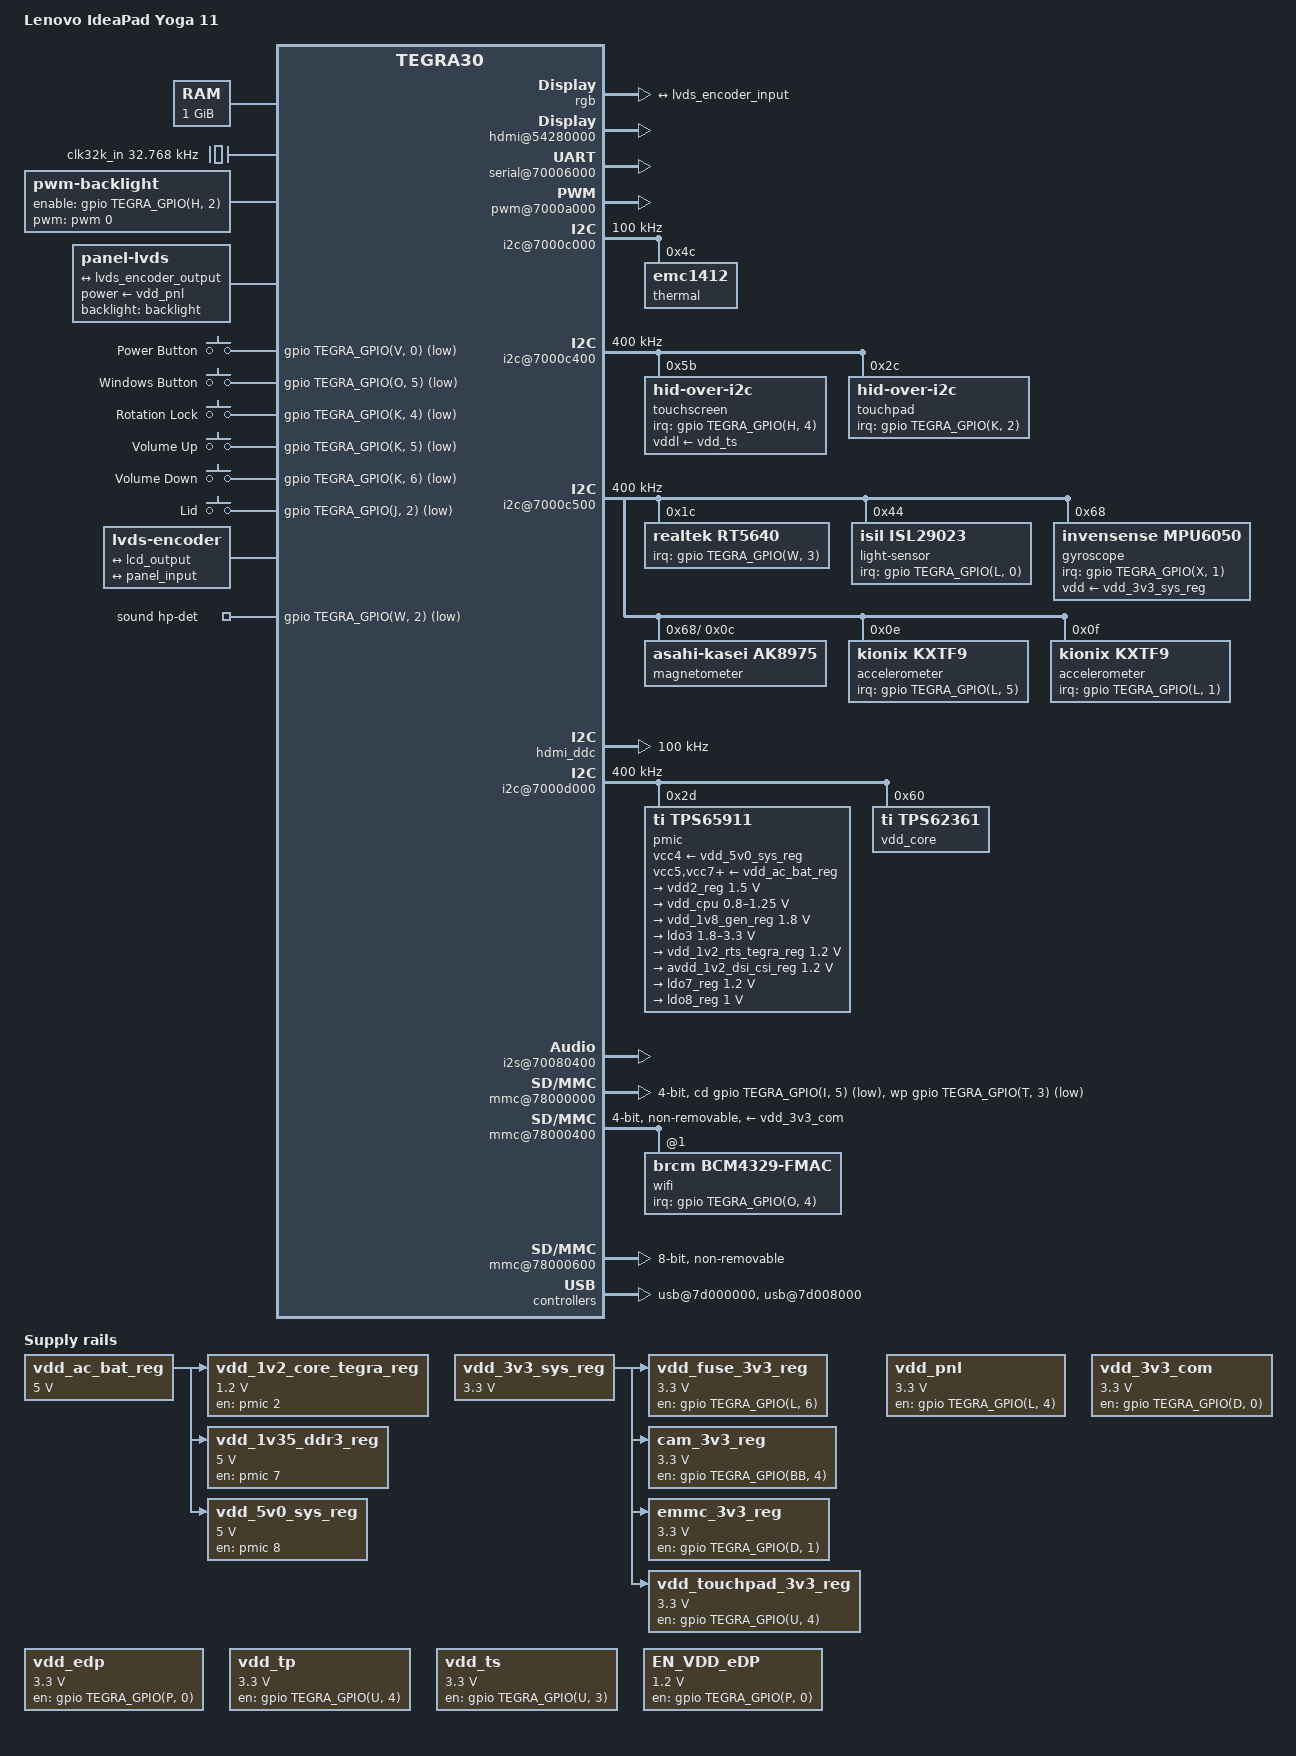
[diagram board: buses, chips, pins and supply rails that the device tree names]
// SPDX-License-Identifier: GPL-2.0

/dts-v1/;

#include <dt-bindings/input/input.h>
#include "tegra30.dtsi"

/ {
	model = "Lenovo IdeaPad Yoga 11";
	compatible = "lenovo,ideapad-yoga-11", "nvidia,tegra30";

	aliases {
		mmc0 = &sdmmc4; /* eMMC */
		mmc1 = &sdmmc1; /* uSD slot */
		mmc2 = &sdmmc3; /* WiFi */

		rtc0 = &pmic;
		rtc1 = "/rtc@7000e000";

		serial0 = &uarta; /* console */
	};

	chosen {
		stdout-path = "serial0:115200n8";
	};

	/* 2GB DDR3 Memory */
	memory@80000000 {
		reg = <0x80000000 0x40000000>; // 1 GiB is wrong size but 2GB doesn't work atm
	};

	/* clock from PMIC */
	clk32k_in: clock-32 {
		compatible = "fixed-clock";
		clock-frequency = <32768>;
		#clock-cells = <0>;
	};

	host1x@50000000 {
		dc@54200000 {
			rgb {
				status = "okay";

				port@0 {
					lcd_output: endpoint {
						remote-endpoint = <&lvds_encoder_input>;
						bus-width = <24>;
					};
				};
			};
		};

		hdmi@54280000 {
			status = "okay";
			nvidia,ddc-i2c-bus = <&hdmi_ddc>;
			nvidia,hpd-gpio = <&gpio TEGRA_GPIO(N, 7) GPIO_ACTIVE_HIGH>;
		};
	};

	pinmux@70000868 {
		pinctrl-names = "default";
		pinctrl-0 = <&state_default>;

		state_default: pinmux {
			/* HDMI HOTPLUG_DETECT */
			/*hdmi-int-pn7 {
				nvidia,pins = "hdmi_int_pn7";
				nvidia,function = "hdmi";
				nvidia,pull = <TEGRA_PIN_PULL_NONE>;
				nvidia,tristate = <TEGRA_PIN_ENABLE>;
				nvidia,enable-input = <TEGRA_PIN_ENABLE>;
			};*/

			/* Backlight PWM */
			gmi-ad8-ph0 {
				nvidia,pins = "gmi_ad8_ph0";
				nvidia,function = "pwm0";
				nvidia,pull = <TEGRA_PIN_PULL_NONE>;
				nvidia,tristate = <TEGRA_PIN_DISABLE>;
				nvidia,enable-input = <TEGRA_PIN_DISABLE>;
			};
		};
	};

	serial@70006000 {
		status = "okay";
	};

	pwm@7000a000 {
		status = "okay";
	};

	i2c@7000c000 {
		status = "okay";
		clock-frequency = <100000>;

		/*
		battery@16 {
			compatible = "battery";
			reg = <0x16>;
		};
		*/

		thermal@4c {
			compatible = "emc1412";
			reg = <0x4c>;
			// Interrupt CC2
		};
	};

	i2c@7000c400 {
		status = "okay";
		clock-frequency = <400000>;

		/* Atmel Maxtouch HID over I2C */
		touchscreen@5b {
			compatible = "hid-over-i2c";
			reg = <0x5b>;
			hid-descr-addr = <0x0000>;
			interrupt-parent = <&gpio>;
			interrupts = <TEGRA_GPIO(H, 4) IRQ_TYPE_LEVEL_LOW>;

			vddl-supply = <&vdd_ts>;
			// reset H6
		};

		/* Touchpad HID over I2C */
		touchpad@2c {
			compatible = "hid-over-i2c";
			reg = <0x2c>;
			hid-descr-addr = <0x0020>;
			interrupt-parent = <&gpio>;
			interrupts = <TEGRA_GPIO(K, 2) IRQ_TYPE_LEVEL_LOW>;
		};
	};

	i2c@7000c500 {
		status = "okay";
		clock-frequency = <400000>;

		rt5640: audio-codec@1c {
			compatible = "realtek,rt5640";
			reg = <0x1c>;
			interrupt-parent = <&gpio>;
			interrupts = <TEGRA_GPIO(W, 3) IRQ_TYPE_LEVEL_HIGH>;
		};

		light-sensor@44 {
			compatible = "isil,isl29023";
			reg = <0x44>;

			interrupt-parent = <&gpio>;
			interrupts = <TEGRA_GPIO(L, 0) IRQ_TYPE_LEVEL_HIGH>;
		};

		gyroscope@68 {
			compatible = "invensense,mpu6050";
			reg = <0x68>;

			interrupt-parent = <&gpio>;
			interrupts = <TEGRA_GPIO(X, 1) IRQ_TYPE_EDGE_RISING>;

			vdd-supply    = <&vdd_3v3_sys_reg>;
			//vlogic-supply = <&vdd_1v8_vio>;

			i2c-gate {
				#address-cells = <1>;
				#size-cells = <0>;

				magnetometer@c {
					compatible = "asahi-kasei,ak8975";
					reg = <0x0c>;


					mount-matrix =   "0",  "1",  "0",
							 "1",  "0",  "0",
							 "0",  "0", "-1";
				};
			};
		};

		// Maybe change accel interrupts
		accelerometer@e {
			compatible = "kionix,kxtf9";
			reg = <0x0e>;

			interrupt-parent = <&gpio>;
			interrupts = <TEGRA_GPIO(L, 5) IRQ_TYPE_EDGE_RISING>;

			//vdd-supply = <&vdd_1v8_vio>;
			//vddio-supply = <&vdd_1v8_vio>;
		};

		accelerometer@f {
			compatible = "kionix,kxtf9";
			reg = <0x0f>;

			interrupt-parent = <&gpio>;
			interrupts = <TEGRA_GPIO(L, 1) IRQ_TYPE_EDGE_RISING>;

			//vdd-supply = <&vdd_1v8_vio>;
			//vddio-supply = <&vdd_1v8_vio>;
		};
	};

	hdmi_ddc: i2c@7000c700 {
		status = "okay";
		clock-frequency = <100000>;
	};

	i2c@7000d000 {
		status = "okay";
		clock-frequency = <400000>;

		pmic: tps65911@2d {
			compatible = "ti,tps65911";
			reg = <0x2d>;

			interrupts = <GIC_SPI 86 IRQ_TYPE_LEVEL_HIGH>;
			#interrupt-cells = <2>;
			interrupt-controller;

			ti,system-power-controller;

			#gpio-cells = <2>;
			gpio-controller;

			//vcc3-supply = <&vdd_5v0_sys_reg>;
			vcc4-supply = <&vdd_5v0_sys_reg>;
			vcc5-supply = <&vdd_ac_bat_reg>;
			vcc7-supply = <&vdd_ac_bat_reg>;

			vccio-supply = <&vdd_ac_bat_reg>;

			regulators {
				// vdd1 - not connected

				vdd2_reg: vdd2 {
					regulator-name = "vdd_1v5_gen";
					regulator-min-microvolt = <1500000>;
					regulator-max-microvolt = <1500000>;
					regulator-always-on;
				};

				vdd_cpu: vddctrl {
					regulator-name = "vdd_cpu,vdd_sys";
					regulator-min-microvolt = <800000>;
					regulator-max-microvolt = <1250000>;
					regulator-coupled-with = <&vdd_core>;
					regulator-coupled-max-spread = <300000>;
					regulator-max-step-microvolt = <100000>;
					regulator-always-on;
					ti,regulator-ext-sleep-control = <1>;

					nvidia,tegra-cpu-regulator;
				};

				vdd_1v8_gen_reg: vio {
					regulator-name = "vdd_1v8_gen";
					regulator-min-microvolt = <1800000>;
					regulator-max-microvolt = <1800000>;
					regulator-always-on;
				};

				// LDO1 - not conencted
				// LDO2 - not conencted

				ldo3: ldo3 {
					regulator-name = "vdd_3v3_sdmmc1";
					regulator-min-microvolt = <1800000>;
					regulator-max-microvolt = <3300000>;
					regulator-always-on;
				};

				vdd_1v2_rts_tegra_reg: ldo4 {
					regulator-name = "vdd_1v2_rtc_tegra";
					regulator-min-microvolt = <1200000>;
					regulator-max-microvolt = <1200000>;
					regulator-always-on;
				};

				// LDO5 - not conencted

				avdd_1v2_dsi_csi_reg: ldo6 {
					regulator-name = "avdd_1v2_dsi_csi_tegra";
					regulator-min-microvolt = <1200000>;
					regulator-max-microvolt = <1200000>;
				};

				ldo7_reg: ldo7 {
					regulator-name = "avdd_1v2_pll_tegra";
					regulator-min-microvolt = <1200000>;
					regulator-max-microvolt = <1200000>;
					regulator-always-on;
				};

				ldo8_reg: ldo8 {
					regulator-name = "vdd_1v0_ddr_hs_tegra";
					regulator-min-microvolt = <1000000>;
					regulator-max-microvolt = <1000000>;
					regulator-always-on;
				};
			};
		};
		
		vdd_core: core-regulator@60 {
			compatible = "ti,tps62361";
			reg = <0x60>;

			regulator-name = "tps62361-vout";
			regulator-min-microvolt = <500000>;
			regulator-max-microvolt = <1350000>;
			regulator-coupled-with = <&vdd_cpu>;
			regulator-coupled-max-spread = <300000>;
			regulator-max-step-microvolt = <100000>;
			regulator-boot-on;
			regulator-always-on;
			ti,enable-vout-discharge;
			ti,vsel0-state-high;
			ti,vsel1-state-high;

			nvidia,tegra-core-regulator;
		};
	};

	pmc@7000e400 {
		status = "okay";
		nvidia,invert-interrupt;
		nvidia,suspend-mode = <1>;
		nvidia,cpu-pwr-good-time = <2000>;
		nvidia,cpu-pwr-off-time = <200>;
		nvidia,core-pwr-good-time = <3845 3845>;
		nvidia,core-pwr-off-time = <0>;
		nvidia,core-power-req-active-high;
		nvidia,sys-clock-req-active-high;

		core-supply = <&vdd_core>;

		i2c-thermtrip {
			nvidia,i2c-controller-id = <4>;
			nvidia,bus-addr = <0x2d>;
			nvidia,reg-addr = <0x3f>;
			nvidia,reg-data = <0x80>;
		};
	};

	kbc@7000e200 {
		status = "okay";
		nvidia,debounce-delay-ms = <2>;
		nvidia,repeat-delay-ms = <160>;
		nvidia,kbc-row-pins = <0 1 2 3 4 5 6 7 8 9 10 11 12 13 14 15>;
		nvidia,kbc-col-pins = <16 17 18 19 20 21 22 23>;

		linux,keymap = <
			MATRIX_KEY(0x00, 0x01, KEY_TAB)
			MATRIX_KEY(0x00, 0x02, KEY_GRAVE)
			MATRIX_KEY(0x00, 0x03, KEY_1)
			MATRIX_KEY(0x00, 0x04, KEY_Q)
			MATRIX_KEY(0x00, 0x05, KEY_A)

			MATRIX_KEY(0x01, 0x06, KEY_RIGHTALT)
			MATRIX_KEY(0x01, 0x07, KEY_LEFTALT)

			MATRIX_KEY(0x02, 0x00, KEY_F3)
			MATRIX_KEY(0x02, 0x01, KEY_F4)
			MATRIX_KEY(0x02, 0x02, KEY_CAPSLOCK)
			MATRIX_KEY(0x02, 0x03, KEY_3)
			MATRIX_KEY(0x02, 0x04, KEY_E)
			MATRIX_KEY(0x02, 0x05, KEY_D)
			MATRIX_KEY(0x02, 0x06, KEY_C)
			MATRIX_KEY(0x02, 0x07, KEY_SPACE)

			MATRIX_KEY(0x03, 0x00, KEY_F2)
			MATRIX_KEY(0x03, 0x01, KEY_F1)
			MATRIX_KEY(0x03, 0x02, KEY_ESC)
			MATRIX_KEY(0x03, 0x03, KEY_2)
			MATRIX_KEY(0x03, 0x04, KEY_W)
			MATRIX_KEY(0x03, 0x05, KEY_S)
			MATRIX_KEY(0x03, 0x06, KEY_X)
			MATRIX_KEY(0x03, 0x07, KEY_Z)

			MATRIX_KEY(0x04, 0x00, KEY_LEFTCTRL)

			MATRIX_KEY(0x05, 0x00, KEY_G)
			MATRIX_KEY(0x05, 0x01, KEY_T)
			MATRIX_KEY(0x05, 0x02, KEY_5)
			MATRIX_KEY(0x05, 0x03, KEY_4)
			MATRIX_KEY(0x05, 0x04, KEY_R)
			MATRIX_KEY(0x05, 0x05, KEY_F)
			MATRIX_KEY(0x05, 0x06, KEY_V)
			MATRIX_KEY(0x05, 0x07, KEY_B)

			MATRIX_KEY(0x06, 0x00, KEY_H)
			MATRIX_KEY(0x06, 0x01, KEY_Y)
			MATRIX_KEY(0x06, 0x02, KEY_6)
			MATRIX_KEY(0x06, 0x03, KEY_7)
			MATRIX_KEY(0x06, 0x04, KEY_U)
			MATRIX_KEY(0x06, 0x05, KEY_J)
			MATRIX_KEY(0x06, 0x06, KEY_M)
			MATRIX_KEY(0x06, 0x07, KEY_N)

			MATRIX_KEY(0x07, 0x01, KEY_F11)
			MATRIX_KEY(0x07, 0x02, KEY_F10)
			MATRIX_KEY(0x07, 0x03, KEY_9)
			MATRIX_KEY(0x07, 0x04, KEY_O)
			MATRIX_KEY(0x07, 0x05, KEY_L)
			MATRIX_KEY(0x07, 0x06, KEY_DOT)
			MATRIX_KEY(0x07, 0x07, KEY_DOWN)

			MATRIX_KEY(0x08, 0x04, KEY_RIGHTSHIFT)
			MATRIX_KEY(0x08, 0x05, KEY_LEFTSHIFT)

			MATRIX_KEY(0x09, 0x00, KEY_F7)
			MATRIX_KEY(0x09, 0x01, KEY_F6)
			MATRIX_KEY(0x09, 0x02, KEY_F5)
			MATRIX_KEY(0x09, 0x03, KEY_8)
			MATRIX_KEY(0x09, 0x04, KEY_I)
			MATRIX_KEY(0x09, 0x05, KEY_K)
			MATRIX_KEY(0x09, 0x06, KEY_COMMA)

			MATRIX_KEY(0x0A, 0x00, KEY_F8)
			MATRIX_KEY(0x0A, 0x01, KEY_F9)
			MATRIX_KEY(0x0A, 0x02, KEY_BACKSLASH)
			MATRIX_KEY(0x0A, 0x03, KEY_102ND)
			MATRIX_KEY(0x0A, 0x04, KEY_COMPOSE)
			MATRIX_KEY(0x0A, 0x05, KEY_LEFT)

			MATRIX_KEY(0x0B, 0x00, KEY_RIGHTCTRL)
			MATRIX_KEY(0x0B, 0x03, KEY_FN)

			MATRIX_KEY(0x0C, 0x02, KEY_LEFTMETA)

			MATRIX_KEY(0x0D, 0x00, KEY_MINUS)
			MATRIX_KEY(0x0D, 0x02, KEY_0)
			MATRIX_KEY(0x0D, 0x03, KEY_P)
			MATRIX_KEY(0x0D, 0x04, KEY_LEFTBRACE)
			MATRIX_KEY(0x0D, 0x05, KEY_SEMICOLON)
			MATRIX_KEY(0x0D, 0x06, KEY_SLASH)
			MATRIX_KEY(0x0D, 0x07, KEY_UP)

			MATRIX_KEY(0x0E, 0x01, KEY_PRINT)
			MATRIX_KEY(0x0E, 0x02, KEY_EQUAL)
			MATRIX_KEY(0x0E, 0x03, KEY_BACKSPACE)
			MATRIX_KEY(0x0E, 0x04, KEY_RIGHTBRACE)
			MATRIX_KEY(0x0E, 0x06, KEY_APOSTROPHE)
			MATRIX_KEY(0x0E, 0x07, KEY_ENTER)

			MATRIX_KEY(0x0F, 0x02, KEY_DELETE)
			MATRIX_KEY(0x0F, 0x03, KEY_PAGEUP)
			MATRIX_KEY(0x0F, 0x04, KEY_INSERT)
			MATRIX_KEY(0x0F, 0x05, KEY_F12)
			MATRIX_KEY(0x0F, 0x06, KEY_PAGEDOWN)
			MATRIX_KEY(0x0F, 0x07, KEY_RIGHT)

			/////////////////////////////////////////
			//////////////// FN KEYS ////////////////
			/////////////////////////////////////////
			// don't work right now. check for dmesg errors

			MATRIX_KEY(0x12, 0x00, KEY_VOLUMEUP) // F3
			MATRIX_KEY(0x12, 0x01, KEY_F4) // F4

			MATRIX_KEY(0x13, 0x00, KEY_VOLUMEDOWN) // F2
			MATRIX_KEY(0x13, 0x01, KEY_MUTE) // F1

			MATRIX_KEY(0x17, 0x01, KEY_BRIGHTNESSDOWN) // F11
			MATRIX_KEY(0x17, 0x02, KEY_F10) // F10

			MATRIX_KEY(0x19, 0x00, KEY_F7) // F7
			MATRIX_KEY(0x19, 0x01, KEY_TOUCHPAD_TOGGLE) // F6
			MATRIX_KEY(0x19, 0x02, KEY_F5) // F5

			MATRIX_KEY(0x1F, 0x05, KEY_BRIGHTNESSUP) // F12

			MATRIX_KEY(0x1F, 0x03, KEY_HOME) // PAGEUP
			MATRIX_KEY(0x1F, 0x06, KEY_END) // PAGEDOWN
		>;
	};

	hda@70030000 {
		status = "okay";
	};

	ahub@70080000 {
		i2s@70080400 {
			status = "okay";
		};
	};

	/* SD Card - SDMMC-1 */
	mmc@78000000 {
		status = "okay";
		vqmmc-supply = <&ldo3>;
		bus-width = <4>;
		power-gpios = <&gpio TEGRA_GPIO(D, 7) GPIO_ACTIVE_HIGH>;
		cd-gpios = <&gpio TEGRA_GPIO(I, 5) GPIO_ACTIVE_LOW>;
		wp-gpios = <&gpio TEGRA_GPIO(T, 3) GPIO_ACTIVE_LOW>;
	};

	/* WiFi - SDMMC-3 */
	mmc@78000400 {
		status = "okay";

		#address-cells = <1>;
		#size-cells = <0>;

		assigned-clocks = <&tegra_car TEGRA30_CLK_SDMMC3>;
		assigned-clock-parents = <&tegra_car TEGRA30_CLK_PLL_C>;
		assigned-clock-rates = <50000000>;

		max-frequency = <50000000>;
		keep-power-in-suspend;
		bus-width = <4>;
		non-removable;

		mmc-pwrseq = <&brcm_wifi_pwrseq>;
		vmmc-supply = <&vdd_3v3_com>;

		/* Azurewave AW-NB108 BCM4330 */
		wifi@1 {
			compatible = "brcm,bcm4329-fmac";
			reg = <1>;

			interrupt-parent = <&gpio>;
			interrupts = <TEGRA_GPIO(O, 4) IRQ_TYPE_LEVEL_HIGH>;
			interrupt-names = "host-wake";
		};
	};

	/* internal 32/64GB eMMC - SDMMC-4 */
	mmc@78000600 {
		status = "okay";
		bus-width = <8>;
		non-removable;
		power-gpios = <&gpio TEGRA_GPIO(D, 1) GPIO_ACTIVE_HIGH>;
	};

	/* USB Left */
	usb@7d000000 {
		status = "okay";
	};

	usb-phy@7d000000 {
		status = "okay";
	};

	/* USB Right */
	usb@7d008000 {
		status = "okay";
	};

	usb-phy@7d008000 {
		status = "okay";
	};

	backlight: backlight {
		compatible = "pwm-backlight";
		enable-gpios = <&gpio TEGRA_GPIO(H, 2) GPIO_ACTIVE_HIGH>;
		pwms = <&pwm 0 50000>;
		brightness-levels = <1 255>;
		num-interpolated-steps = <254>;
		default-brightness-level = <128>;
	};

	brcm_wifi_pwrseq: wifi-pwrseq {
		compatible = "mmc-pwrseq-simple";

		clocks = <&tegra_pmc TEGRA_PMC_CLK_BLINK>;
		clock-names = "ext_clock";

		post-power-on-delay-ms = <300>;
		power-off-delay-us = <300>;
	};

	panel: display-panel {
		compatible = "panel-lvds";

		power-supply = <&vdd_pnl>;
		backlight = <&backlight>;

		width-mm = <235>;
		height-mm = <132>;
		rotation = <0>;

		data-mapping = "jeida-24";

		panel-timing {
			clock-frequency = <71980000>;

			hactive = <1366>;
			vactive = <768>;

			hfront-porch = <56>;
			hsync-len = <14>;
			hback-porch = <106>;

			vfront-porch = <3>;
			vsync-len = <1>;
			vback-porch = <6>;
		};

		port {
			panel_input: endpoint {
				remote-endpoint = <&lvds_encoder_output>;
			};
		};
	};

	gpio-keys {
		compatible = "gpio-keys";

		label = "GPIO Buttons";

		power {
			label = "Power Button";
			gpios = <&gpio TEGRA_GPIO(V, 0) GPIO_ACTIVE_LOW>;
			linux,code = <KEY_POWER>;
			debounce-interval = <10>;
			wakeup-source;
		};

		windows-button {
			label = "Windows Button";
			gpios = <&gpio TEGRA_GPIO(O, 5) GPIO_ACTIVE_LOW>;
			linux,code = <KEY_LEFTMETA>;
			debounce-interval = <10>;
			wakeup-source;
		};

		rotation-lock {
			label = "Rotation Lock";
			gpios = <&gpio TEGRA_GPIO(K, 4) GPIO_ACTIVE_LOW>;
			linux,code = <KEY_ROTATE_LOCK_TOGGLE>;
			debounce-interval = <10>;
		};

		volume-up {
			label = "Volume Up";
			gpios = <&gpio TEGRA_GPIO(K, 5) GPIO_ACTIVE_LOW>;
			linux,code = <KEY_VOLUMEUP>;
			debounce-interval = <10>;
		};

		volume-down {
			label = "Volume Down";
			gpios = <&gpio TEGRA_GPIO(K, 6) GPIO_ACTIVE_LOW>;
			linux,code = <KEY_VOLUMEDOWN>;
			debounce-interval = <10>;
		};

		lid {
			label = "Lid";
			gpios = <&gpio TEGRA_GPIO(J, 2) GPIO_ACTIVE_LOW>;
			linux,code = <SW_LID>;
			debounce-interval = <10>;
			wakeup-source;
		};
	};

	lvds-encoder {
		compatible = "lvds-encoder";

		//powerdown-gpios = <&gpio TEGRA_GPIO(C, 1) GPIO_ACTIVE_LOW>;

		ports {
			#address-cells = <1>;
			#size-cells = <0>;

			port@0 {
				reg = <0>;

				lvds_encoder_input: endpoint {
					remote-endpoint = <&lcd_output>;
				};
			};

			port@1 {
				reg = <1>;

				lvds_encoder_output: endpoint {
					remote-endpoint = <&panel_input>;
				};
			};
		};
	};

	sound {
		compatible = "nvidia,tegra-audio-rt5640-ideapadYoga11",
			"nvidia,tegra-audio-rt5640";
		nvidia,model = "lenovo-ideapad-yoga-11-rt5642";

		nvidia,audio-routing =
			"Headphones", "HPOR",
			"Headphones", "HPOL",
			"Speakers", "SPORP",
			"Speakers", "SPORN",
			"Speakers", "SPOLP",
			"Speakers", "SPOLN";

		nvidia,i2s-controller = <&tegra_i2s1>;
		nvidia,audio-codec = <&rt5640>;

		nvidia,hp-det-gpios = <&gpio TEGRA_GPIO(W, 2) GPIO_ACTIVE_LOW>;

		clocks = <&tegra_car TEGRA30_CLK_PLL_A>,
			 <&tegra_car TEGRA30_CLK_PLL_A_OUT0>,
			 <&tegra_pmc TEGRA_PMC_CLK_OUT_1>;
		clock-names = "pll_a", "pll_a_out0", "mclk";

		assigned-clocks = <&tegra_car TEGRA30_CLK_EXTERN1>,
				  <&tegra_pmc TEGRA_PMC_CLK_OUT_1>;

		assigned-clock-parents = <&tegra_car TEGRA30_CLK_PLL_A_OUT0>,
					 <&tegra_car TEGRA30_CLK_EXTERN1>;
	};

////////////////////////////////////////////////////////////////////////////////
////////////////////////////////   REGULATORS   ////////////////////////////////
////////////////////////////////////////////////////////////////////////////////

	/* 5V from AC or battery - IC: OZ8150 */
	vdd_ac_bat_reg: regulator-acbat {
		compatible = "regulator-fixed";
		regulator-name = "vdd_ac_bat";
		regulator-min-microvolt = <5000000>;
		regulator-max-microvolt = <5000000>;
		regulator-always-on;
	};

	/* 3.3V for system - IC: OZ8015 */
	vdd_3v3_sys_reg: regulator-3v3-sys {
		compatible = "regulator-fixed";
		regulator-name = "vdd_3v3_sys";
		regulator-min-microvolt = <3300000>;
		regulator-max-microvolt = <3300000>;
		regulator-boot-on;
	};

	vdd_fuse_3v3_reg: regulator-fuse {
		compatible = "regulator-fixed";
		regulator-name = "vdd_fuse_3v3";
		regulator-min-microvolt = <3300000>;
		regulator-max-microvolt = <3300000>;
		enable-active-high;
		gpio = <&gpio TEGRA_GPIO(L, 6) GPIO_ACTIVE_HIGH>;
		vin-supply = <&vdd_ac_bat_reg>;
	};

	/* 1.2V Core Voltage - IC: TPS62361 */
	vdd_1v2_core_tegra_reg: regulator-1v2 {
		compatible = "regulator-fixed";
		regulator-name = "vdd_1v2_core_tegra";
		regulator-min-microvolt = <1200000>;
		regulator-max-microvolt = <1200000>;
		regulator-boot-on;
		regulator-always-on;
		enable-active-high;
		gpio = <&pmic 2 GPIO_ACTIVE_HIGH>;
		vin-supply = <&vdd_ac_bat_reg>;
	};

	/* 1.35V DDR3 RAM voltage - IC: OZ8019 */
	vdd_1v35_ddr3_reg: regulator-1v35-ddr3 {
		compatible = "regulator-fixed";
		regulator-name = "vdd_1v35_ddr3_buck";
		regulator-min-microvolt = <5000000>;
		regulator-max-microvolt = <5000000>;
		regulator-boot-on;
		regulator-always-on;
		enable-active-high;
		gpio = <&pmic 7 GPIO_ACTIVE_HIGH>;
		vin-supply = <&vdd_ac_bat_reg>;
	};

	vdd_5v0_sys_reg: regulator-5v0-sys {
		compatible = "regulator-fixed";
		regulator-name = "vdd_5v0_sys";
		regulator-min-microvolt = <5000000>;
		regulator-max-microvolt = <5000000>;
		regulator-boot-on;
		regulator-always-on;
		enable-active-high;
		gpio = <&pmic 8 GPIO_ACTIVE_HIGH>;
		vin-supply = <&vdd_ac_bat_reg>;
	};

	cam_3v3_reg: regulator-cam {
		compatible = "regulator-fixed";
		regulator-name = "cam_3v3";
		regulator-min-microvolt = <3300000>;
		regulator-max-microvolt = <3300000>;
		enable-active-high;
		gpio = <&gpio TEGRA_GPIO(BB, 4) GPIO_ACTIVE_HIGH>;
		vin-supply = <&vdd_3v3_sys_reg>;
	};

	emmc_3v3_reg: regulator-emmc {
		compatible = "regulator-fixed";
		regulator-name = "emmc_3v3";
		regulator-min-microvolt = <3300000>;
		regulator-max-microvolt = <3300000>;
		regulator-always-on;
		regulator-boot-on;
		enable-active-high;
		gpio = <&gpio TEGRA_GPIO(D, 1) GPIO_ACTIVE_HIGH>;
		vin-supply = <&vdd_3v3_sys_reg>;
	};

	vdd_pnl: vdd-panel {
		compatible = "regulator-fixed";
		regulator-name = "vdd_panel";
		regulator-min-microvolt = <3300000>;
		regulator-max-microvolt = <3300000>;
		regulator-boot-on;
		regulator-always-on;
		gpio = <&gpio TEGRA_GPIO(L, 4) GPIO_ACTIVE_HIGH>;
		enable-active-high;
	};

	vdd_fuse_3v3_reg: regulator-fuse {
		compatible = "regulator-fixed";
		regulator-name = "vdd_fuse_3v3";
		regulator-min-microvolt = <3300000>;
		regulator-max-microvolt = <3300000>;
		enable-active-high;
		gpio = <&gpio TEGRA_GPIO(L, 6) GPIO_ACTIVE_HIGH>;
		vin-supply = <&vdd_3v3_sys_reg>;
	};

	vdd_touchpad_3v3_reg: regulator-touchpad {
		compatible = "regulator-fixed";
		regulator-name = "vdd_fuse_3v3";
		regulator-min-microvolt = <3300000>;
		regulator-max-microvolt = <3300000>;
		enable-active-high;
		gpio = <&gpio TEGRA_GPIO(U, 4) GPIO_ACTIVE_HIGH>;
		vin-supply = <&vdd_3v3_sys_reg>;
	};

	vdd_3v3_com: regulator {
		compatible = "regulator-fixed";
		regulator-name = "vdd_3v3_com";
		regulator-min-microvolt = <3300000>;
		regulator-max-microvolt = <3300000>;
		regulator-always-on;
		gpio = <&gpio TEGRA_GPIO(D, 0) GPIO_ACTIVE_HIGH>;
		enable-active-high;
	};

	// from schematic
	vdd_edp: regulator {
		compatible = "regulator-fixed";
		regulator-name = "vdd_edp";
		regulator-min-microvolt = <3300000>;
		regulator-max-microvolt = <3300000>;
		regulator-always-on;
		gpio = <&gpio TEGRA_GPIO(P, 0) GPIO_ACTIVE_HIGH>;
		enable-active-high;
	};

	vdd_tp: regulator {
		compatible = "regulator-fixed";
		regulator-name = "vdd_tp";
		regulator-min-microvolt = <3300000>;
		regulator-max-microvolt = <3300000>;
		regulator-always-on;
		gpio = <&gpio TEGRA_GPIO(U, 4) GPIO_ACTIVE_HIGH>;
		enable-active-high;
	};

	vdd_ts: regulator {
		compatible = "regulator-fixed";
		regulator-name = "vdd_ts";
		regulator-min-microvolt = <3300000>;
		regulator-max-microvolt = <3300000>;
		regulator-always-on;
		gpio = <&gpio TEGRA_GPIO(U, 3) GPIO_ACTIVE_HIGH>;
		enable-active-high;
	};

	EN_VDD_eDP: regulator {
		compatible = "regulator-fixed";
		regulator-name = "EN_VDD_eDP";
		regulator-min-microvolt = <1200000>;
		regulator-max-microvolt = <1200000>;
		regulator-always-on;
		gpio = <&gpio TEGRA_GPIO(P, 0) GPIO_ACTIVE_HIGH>;
		enable-active-high;
	};
};
